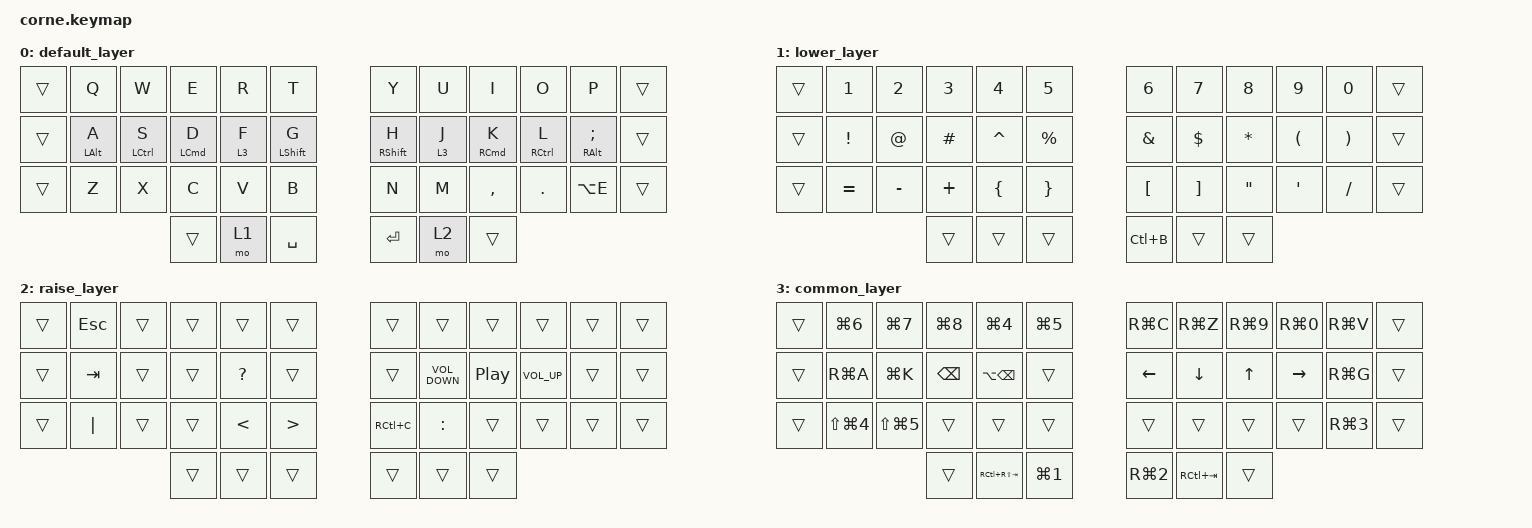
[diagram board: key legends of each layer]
/*
 * Copyright (c) 2020 The ZMK Contributors
 *
 
 * SPDX-License-Identifier: MIT
 */

#include <behaviors.dtsi>
#include <dt-bindings/zmk/keys.h>

/ {
    behaviors {
        hold_tap: hold_tap {
            compatible = "zmk,behavior-hold-tap";
            label = "HOLD_TAP";
            bindings = <&kp>, <&kp>;

            #binding-cells = <2>;
            tapping-term-ms = <190>;
            flavor = "tap-preferred";
        };

        hold_mo: hold_mo {
            compatible = "zmk,behavior-hold-tap";
            label = "HOLD_MO";
            bindings = <&mo>, <&kp>;

            #binding-cells = <2>;
            tapping-term-ms = <180>;
            flavor = "tap-preferred";
        };
    };

    keymap {
        compatible = "zmk,keymap";

        default_layer {
            bindings = <
&trans  &kp Q                 &kp W                     &kp E                     &kp R         &kp T                     &kp Y                    &kp U         &kp I                      &kp O                      &kp P                     &trans
&trans  &hold_tap LEFT_ALT A  &hold_tap LEFT_CONTROL S  &hold_tap LEFT_COMMAND D  &hold_mo 3 F  &hold_tap LEFT_SHIFT G    &hold_tap RIGHT_SHIFT H  &hold_mo 3 J  &hold_tap RIGHT_COMMAND K  &hold_tap RIGHT_CONTROL L  &hold_tap RIGHT_ALT SEMI  &trans
&trans  &kp Z                 &kp X                     &kp C                     &kp V         &kp B                     &kp N                    &kp M         &kp COMMA                  &kp DOT                    &kp LA(E)                 &trans
                                                        &trans                    &mo 1         &kp SPACE                 &kp RET                  &mo 2         &trans
            >;
        };

        lower_layer {
            bindings = <
&trans  &kp N1     &kp N2     &kp N3    &kp N4          &kp N5             &kp N6            &kp N7             &kp N8             &kp N9            &kp N0     &trans
&trans  &kp EXCL   &kp AT     &kp HASH  &kp CARET       &kp PRCNT          &kp AMPS          &kp DLLR           &kp ASTRK          &kp LPAR          &kp RPAR   &trans
&trans  &kp EQUAL  &kp MINUS  &kp PLUS  &kp LEFT_BRACE  &kp RIGHT_BRACE    &kp LEFT_BRACKET  &kp RIGHT_BRACKET  &kp DOUBLE_QUOTES  &kp SINGLE_QUOTE  &kp SLASH  &trans
                              &trans    &trans          &trans             &kp LC(B)         &trans             &trans
            >;
        };

        raise_layer {
            bindings = <
&trans  &kp ESC   &trans  &trans  &trans         &trans              &trans     &trans             &trans            &trans           &trans  &trans
&trans  &kp TAB   &trans  &trans  &kp QUESTION   &trans              &trans     &kp C_VOLUME_DOWN  &kp C_PLAY_PAUSE  &kp C_VOLUME_UP  &trans  &trans
&trans  &kp PIPE  &trans  &trans  &kp LESS_THAN  &kp GREATER_THAN    &kp RC(C)  &kp COLON          &trans            &trans           &trans  &trans
                          &trans  &trans         &trans              &trans     &trans             &trans
            >;
        };

        common_layer {
            bindings = <
&trans  &kp LG(NUMBER_6)      &kp LG(N7)      &kp LG(N8)     &kp LG(NUMBER_4)   &kp LG(N5)          &kp RG(C)         &kp RG(Z)       &kp RG(N9)    &kp RG(N0)  &kp RG(V)         &trans
&trans  &kp RG(A)             &kp LG(K)       &kp BACKSPACE  &kp LA(BACKSPACE)  &trans              &kp LEFT_ARROW    &kp DOWN_ARROW  &kp UP_ARROW  &kp RIGHT   &kp RG(G)         &trans
&trans  &kp LS(LG(NUMBER_4))  &kp LS(LG(N5))  &trans         &trans             &trans              &trans            &trans          &trans        &trans      &kp RG(NUMBER_3)  &trans
                                              &trans         &kp RC(RS(TAB))    &kp LG(NUMBER_1)    &kp RG(NUMBER_2)  &kp RC(TAB)     &trans
            >;
        };
    };
};
